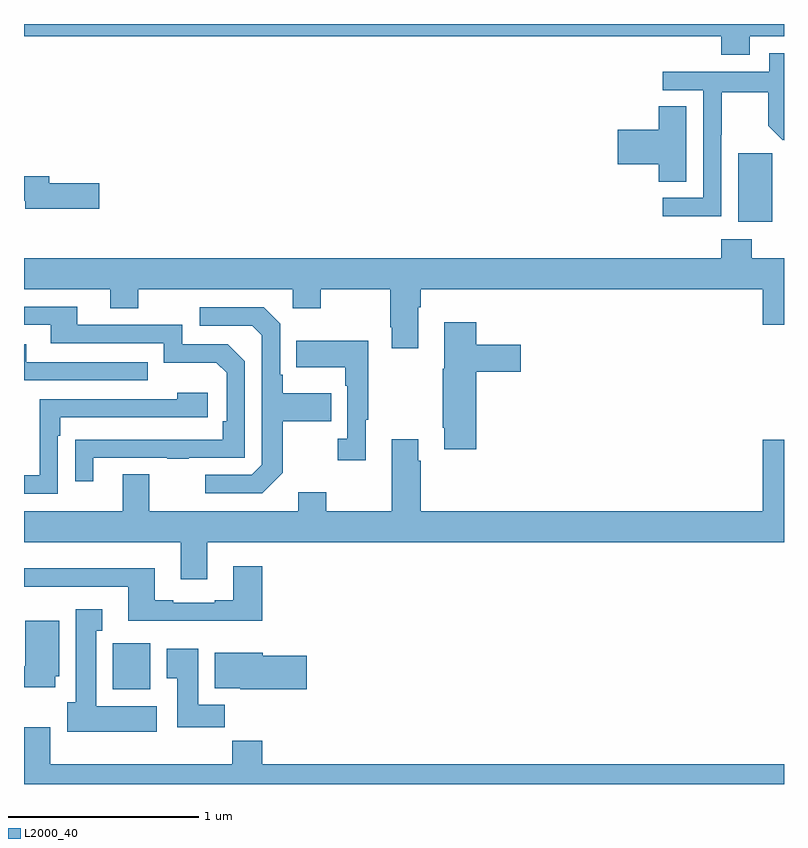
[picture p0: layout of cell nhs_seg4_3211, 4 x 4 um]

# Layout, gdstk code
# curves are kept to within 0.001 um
import gdstk
lib = gdstk.Library(unit=1e-6, precision=1e-09)
def R(c, l, rs):  # rectangles x0, y0, x1, y1
    for r in rs: c.add(gdstk.rectangle(r[:2], r[2:], *l))
def P(c, l, *ps):  # polygons
    for p in ps: c.add(gdstk.Polygon(p, *l))
L2000_40 = (2000, 40)

nhs_seg4_3211 = lib.new_cell('nhs_seg4_3211')
R(nhs_seg4_3211, L2000_40, [(281.468,777.398,281.665,777.64), (284.759,779.858,284.938,780.219)])
P(nhs_seg4_3211, L2000_40, [(284.821,780.836),(285,780.836),(285,780.9),(281,780.9),(281,780.836),(284.669,780.836),(284.669,780.737),(284.821,780.737)],
  [(284.67,780.316),(284.673,780.316),(284.673,780.54),(284.917,780.54),(284.917,780.365),(284.994,780.288),(284.997,780.291),(285,780.288),(285,780.745),(284.922,780.745),(284.922,780.648),(284.361,780.648),(284.361,780.552),(284.574,780.552),(284.574,779.985),(284.361,779.985),(284.361,779.887),(284.67,779.887)],
  [(284.485,780.467),(284.342,780.467),(284.342,780.344),(284.124,780.344),(284.124,780.161),(284.342,780.161),(284.342,780.07),(284.485,780.07)],
  [(281.395,780.062),(281.134,780.062),(281.134,780.098),(281,780.098),(281,779.97),(281.006,779.97),(281.006,779.927),(281.395,779.927)],
  [(283.075,779.408),(283.088,779.408),(283.088,779.504),(284.888,779.504),(284.888,779.316),(285,779.316),(285,779.668),(284.829,779.668),(284.829,779.767),(284.669,779.767),(284.669,779.668),(281,779.668),(281,779.504),(281.453,779.504),(281.453,779.405),(281.601,779.405),(281.601,779.504),(282.414,779.504),(282.414,779.405),(282.561,779.405),(282.561,779.504),(282.928,779.504),(282.928,779.305),(282.935,779.305),(282.935,779.193),(283.075,779.193)],
  [(281.365,778.617),(281.755,778.617),(281.755,778.612),(281.867,778.612),(281.867,778.617),(282.162,778.617),(282.162,779.124),(282.072,779.214),(281.832,779.214),(281.832,779.316),(281.281,779.316),(281.281,779.412),(281,779.412),(281,779.316),(281.141,779.316),(281.141,779.22),(281.736,779.22),(281.736,779.117),(282.013,779.117),(282.066,779.064),(282.066,778.81),(282.046,778.81),(282.046,778.713),(281.269,778.712),(281.269,778.494),(281.365,778.494)],
  [(282.361,778.537),(282.361,778.81),(282.617,778.81),(282.617,778.957),(282.361,778.957),(282.361,779.053),(282.348,779.053),(282.348,779.322),(282.261,779.409),(281.925,779.409),(281.925,779.313),(282.201,779.313),(282.252,779.262),(282.252,778.581),(282.198,778.527),(281.955,778.527),(281.955,778.431),(282.255,778.431)],
  [(283.379,779.069),(283.615,779.069),(283.615,779.211),(283.379,779.211),(283.379,779.329),(283.211,779.329),(283.211,779.085),(283.204,779.085),(283.204,778.774),(283.211,778.774),(283.211,778.662),(283.379,778.662)],
  [(282.799,778.817),(282.811,778.817),(282.811,779.233),(282.433,779.233),(282.433,779.093),(282.69,779.093),(282.69,778.997),(282.702,778.997),(282.702,778.718),(282.651,778.718),(282.651,778.605),(282.799,778.605)],
  [(281.651,779.121),(281.011,779.121),(281.011,779.215),(281,779.215),(281,779.025),(281.651,779.025)],
  [(281.178,778.733),(281.191,778.733),(281.191,778.83),(281.968,778.83),(281.968,778.96),(281.807,778.96),(281.807,778.926),(281.082,778.926),(281.082,778.524),(281,778.524),(281,778.428),(281.178,778.428)],
  [(281.965,778.172),(285,778.172),(285,778.711),(284.888,778.711),(284.888,778.336),(283.088,778.336),(283.088,778.601),(283.075,778.601),(283.075,778.714),(282.935,778.714),(282.935,778.336),(282.591,778.336),(282.591,778.435),(282.443,778.435),(282.443,778.336),(281.659,778.336),(281.659,778.531),(281.519,778.531),(281.519,778.336),(281,778.336),(281,778.172),(281.825,778.172),(281.825,777.978),(281.965,777.978)],
  [(282.254,778.045),(282.101,778.045),(282.101,777.868),(282.005,777.868),(282.005,777.855),(281.785,777.855),(281.785,777.868),(281.689,777.868),(281.689,778.036),(281,778.036),(281,777.939),(281.549,777.939),(281.549,777.758),(282.254,777.758)],
  [(281.698,777.31),(281.38,777.31),(281.38,777.707),(281.413,777.707),(281.413,777.82),(281.273,777.82),(281.273,777.33),(281.228,777.33),(281.228,777.176),(281.698,777.176)],
  [(281.164,777.468),(281.185,777.468),(281.185,777.76),(281.006,777.76),(281.006,777.52),(281,777.52),(281,777.408),(281.164,777.408)],
  [(282.056,777.316),(281.917,777.316),(281.917,777.613),(281.75,777.613),(281.75,777.457),(281.807,777.457),(281.807,777.198),(282.056,777.198)],
  [(282.487,777.575),(282.256,777.575),(282.256,777.592),(282.005,777.592),(282.005,777.404),(282.138,777.404),(282.138,777.398),(282.487,777.398)],
  [(285,777.004),(282.254,777.004),(282.254,777.128),(282.097,777.128),(282.097,777.004),(281.137,777.004),(281.137,777.199),(281,777.199),(281,776.9),(285,776.9)])

lib.write_gds('nhs_seg4_3211.gds')
